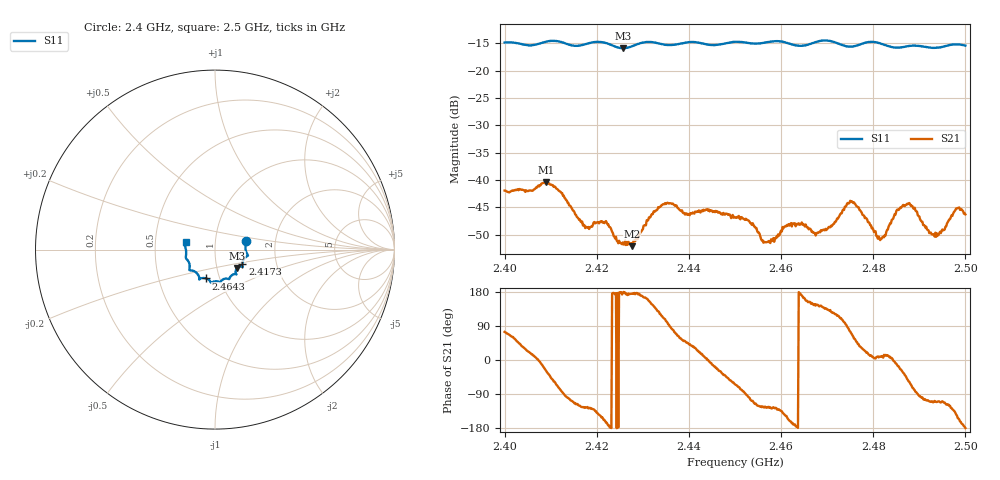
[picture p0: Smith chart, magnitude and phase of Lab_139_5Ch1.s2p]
# Hz S RI R 50
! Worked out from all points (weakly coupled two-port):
!   601 points, 2.4 GHz to 2.5 GHz, reference 50 ohm
!   highest |S21| = -40.44 dB at 2.409 GHz (marker M1); lowest = -52.1 dB at 2.4277 GHz (marker M2)
!   lowest |S11| = -15.9 dB at 2.4257 GHz (marker M3), VSWR 1.38, Z = 62.4 - j13.1 ohm
!   |S11| at or under -10 dB: start of sweep to end of sweep
!   S12 and S22 are empty: the file has one direction only
!   S11 on the Smith chart (normalised r, x): 2.4 GHz: 1.41, +0.14; 2.4173 GHz: 1.34, -0.23; 2.4643 GHz: 0.86, -0.28; 2.5 GHz: 0.72, +0.06
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2.4e9  0.1734 0.0496  0.00218 0.00769  0 0  0 0
2.409e9  0.1816 -0.028  0.00838 -0.0045  0 0  0 0
2.412333e9  0.1782 -0.0373  0.00103 -0.00752  0 0  0 0
2.416667e9  0.153 -0.0747  -0.00229 -0.00341  0 0  0 0
2.417333e9  0.1524 -0.0822  -0.00227 -0.0031  0 0  0 0
2.422e9  0.1513 -0.0945  -0.00407 -0.00106  0 0  0 0
2.425667e9  0.1226 -0.1023  -0.00268 0.000129  0 0  0 0
2.427667e9  0.1152 -0.1206  -0.00247 0.000229  0 0  0 0
2.433333e9  0.1127 -0.1367  -0.00351 0.00441  0 0  0 0
2.45e9  0.0296 -0.1807  0.00198 -0.00411  0 0  0 0
2.452833e9  0.0186 -0.1777  -0.000508 -0.00423  0 0  0 0
2.456667e9  -0.0115 -0.1802  -0.00153 -0.00222  0 0  0 0
2.464333e9  -0.0503 -0.1604  -0.00389 0.000554  0 0  0 0
2.466667e9  -0.0763 -0.1598  -0.0029 0.00165  0 0  0 0
2.471e9  -0.087 -0.1631  -0.00224 0.00304  0 0  0 0
2.475333e9  -0.1098 -0.1237  0.00231 0.00595  0 0  0 0
2.481167e9  -0.1423 -0.1084  0.00302 0.000358  0 0  0 0
2.483333e9  -0.1409 -0.0896  0.00369 0.000682  0 0  0 0
2.4875e9  -0.1581 -0.0534  0.00366 -0.00476  0 0  0 0
2.493167e9  -0.1605 -0.0116  -0.00108 -0.00301  0 0  0 0
2.498167e9  -0.1706 0.0322  -0.00457 -0.00304  0 0  0 0
2.5e9  -0.1636 0.0418  -0.00484 -3.66e-05  0 0  0 0
